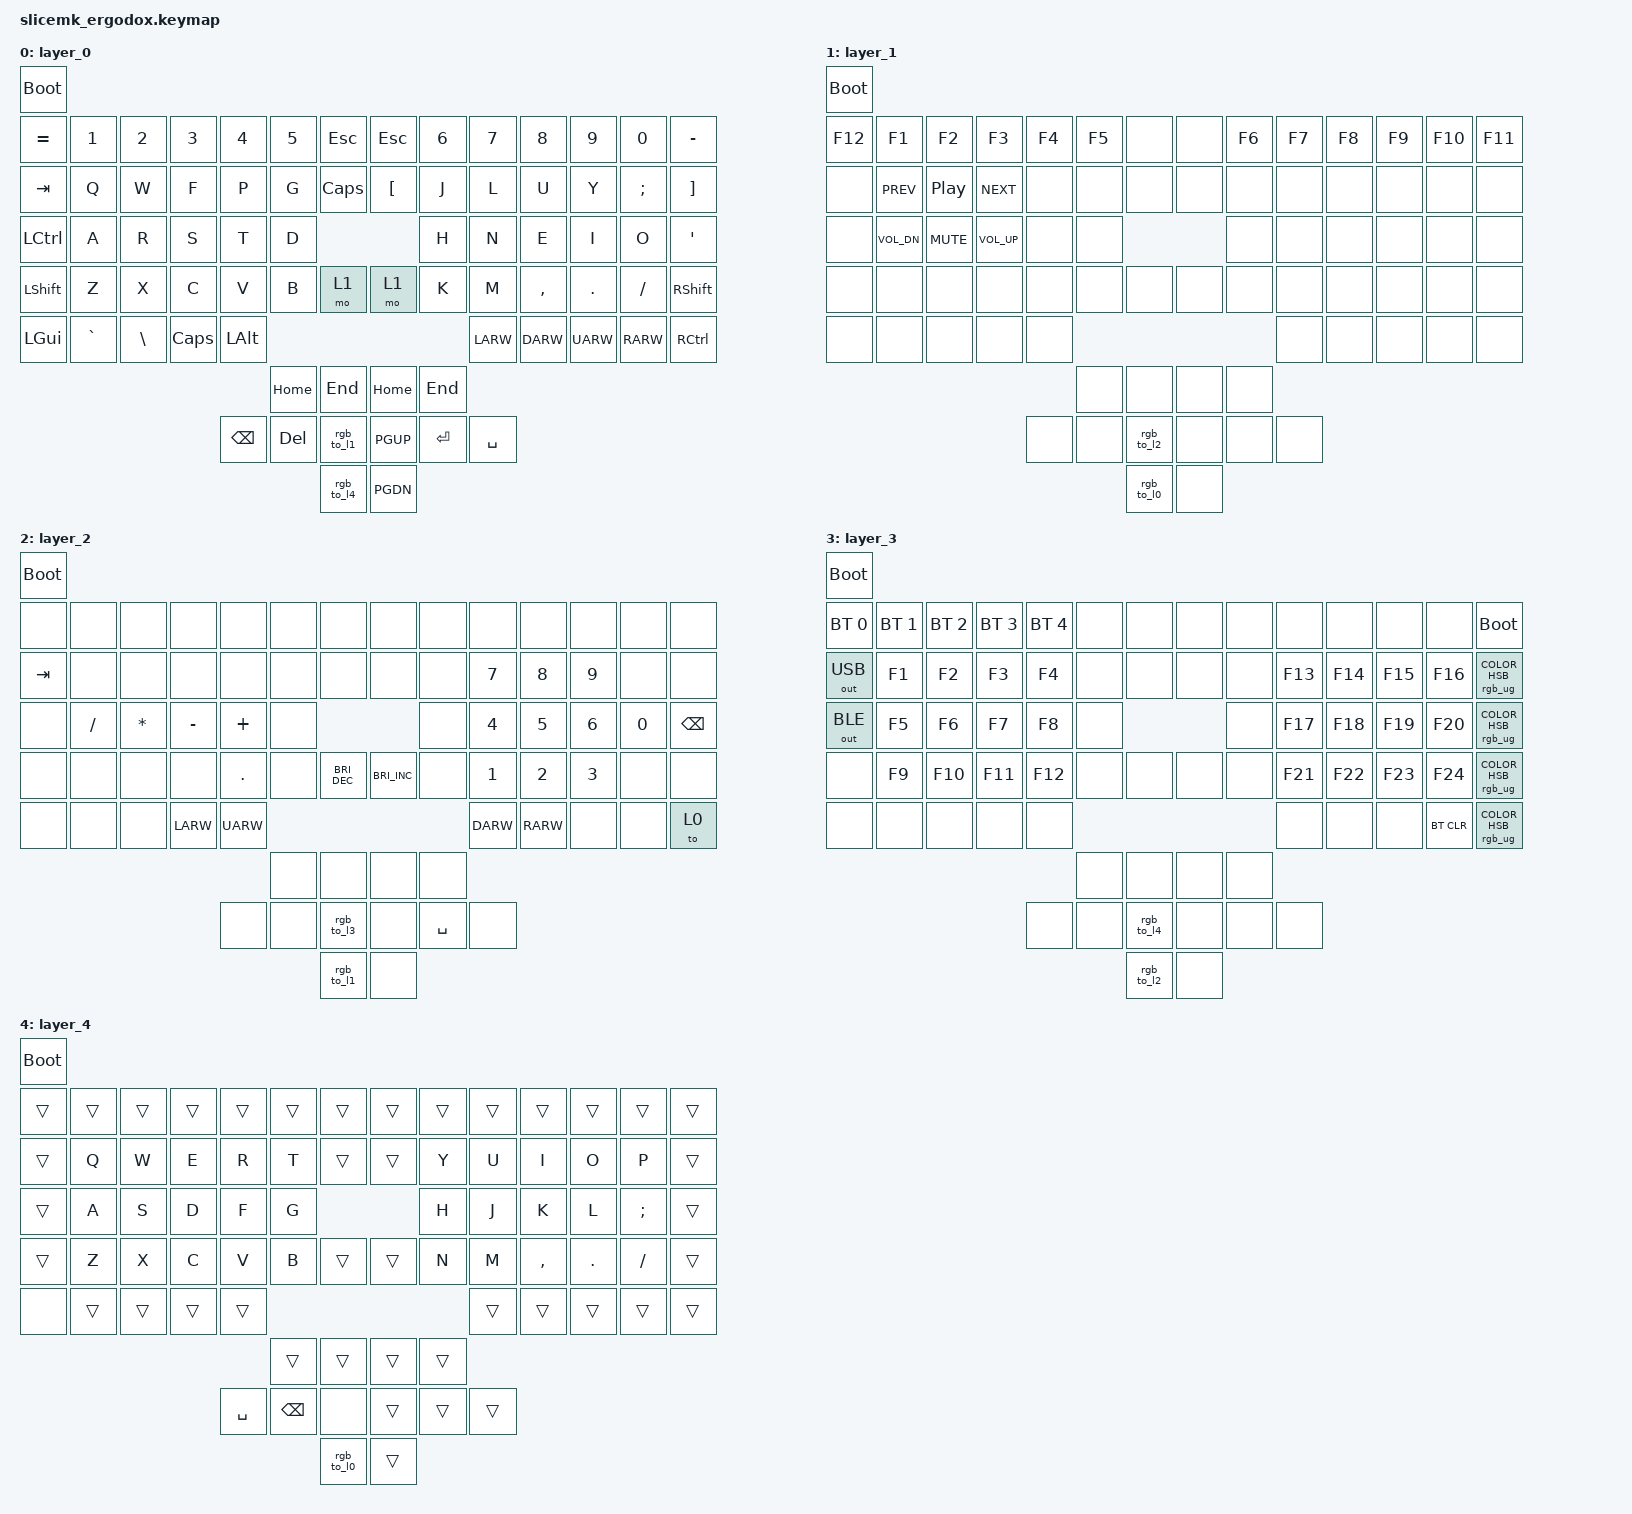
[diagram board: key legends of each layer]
#include <behaviors.dtsi>
#include <dt-bindings/zmk/bt.h>
#include <dt-bindings/zmk/keys.h>
#include <dt-bindings/zmk/outputs.h>
#include <dt-bindings/zmk/rgb.h>

/ {
	ZMK_MACRO(rgb_to_l0, wait-ms = <0>; tap-ms = <0>; bindings = <&macro_tap &rgb_ug RGB_COLOR_HSB(0,0,0)>, <&macro_tap &to 0>;)
	ZMK_MACRO(rgb_to_l1, wait-ms = <0>; tap-ms = <0>; bindings = <&macro_tap &rgb_ug RGB_COLOR_HSB(235,82,30)>, <&macro_tap &to 1>;)
	ZMK_MACRO(rgb_to_l2, wait-ms = <0>; tap-ms = <0>; bindings = <&macro_tap &rgb_ug RGB_COLOR_HSB(273,82,30)>, <&macro_tap &to 2>;)
	ZMK_MACRO(rgb_to_l3, wait-ms = <0>; tap-ms = <0>; bindings = <&macro_tap &rgb_ug RGB_COLOR_HSB(93,82,30)>, <&macro_tap &to 3>;)
	ZMK_MACRO(rgb_to_l4, wait-ms = <0>; tap-ms = <0>; bindings = <&macro_tap &rgb_ug RGB_COLOR_HSB(183,82,30)>, <&macro_tap &to 4>;)

	keymap {
		compatible = "zmk,keymap";
		layer_0 {
			bindings = <
				&bootloader
				&kp EQUAL  &kp NUMBER_1 &kp NUMBER_2 &kp NUMBER_3 &kp NUMBER_4 &kp NUMBER_5 &kp ESC  		&kp ESC  &kp NUMBER_6 &kp NUMBER_7 &kp NUMBER_8 &kp NUMBER_9 &kp NUMBER_0 &kp MINUS
				&kp TAB    &kp Q        &kp W        &kp F        &kp P        &kp G        &kp CLCK 		&kp LBKT &kp J        &kp L        &kp U        &kp Y        &kp SEMI     &kp RBKT
				&kp LCTRL  &kp A        &kp R        &kp S        &kp T        &kp D                 		         &kp H        &kp N        &kp E        &kp I        &kp O        &kp QUOT
				&kp LSHIFT &kp Z        &kp X        &kp C        &kp V        &kp B        &mo 1    		&mo 1    &kp K        &kp M        &kp CMMA     &kp DOT      &kp FSLH     &kp RSHIFT
				&kp LGUI   &kp GRAVE    &kp BSLH     &kp CAPS     &kp LALT                           		                      &kp LARW     &kp DARW     &kp UARW     &kp RARW     &kp RCTRL
				                                                               &kp HOME     &kp END  		&kp HOME &kp END
				                                                  &kp BSPC     &kp DEL      &rgb_to_l1    	&kp PGUP &kp ENTER    &kp SPACE
				                                                                            &rgb_to_l4    	&kp PGDN
			>;
		};
		layer_1 {
			bindings = <
				&bootloader
				&kp F12 &kp F1       &kp F2     &kp F3       &kp F4 &kp F5 &none 		&none &kp F6 &kp F7 &kp F8 &kp F9 &kp F10 &kp F11
				&none   &kp C_PREV   &kp C_PP   &kp C_NEXT   &none  &none  &none 		&none &none  &none  &none  &none  &none   &none
				&none   &kp C_VOL_DN &kp C_MUTE &kp C_VOL_UP &none  &none        		      &none  &none  &none  &none  &none   &none
				&none   &none        &none      &none        &none  &none  &none 		&none &none  &none  &none  &none  &none   &none
				&none   &none        &none      &none        &none               		             &none  &none  &none  &none   &none
				                                                    &none  &none 		&none &none
				                                             &none  &none  &rgb_to_l2 	&none &none  &none
				                                                           &rgb_to_l0 	&none
			>;
		};
		layer_2 {
			bindings = <
				&bootloader
				&none   &none     &none        &none     &none    &none &none                		&none                &none   &none        &none        &none        &none        &none
				&kp TAB &none     &none        &none     &none    &none &none                		&none                &none   &kp NUMBER_7 &kp NUMBER_8 &kp NUMBER_9 &none        &none
				&none   &kp SLASH &kp ASTERISK &kp MINUS &kp PLUS &none                      		                     &none   &kp NUMBER_4 &kp NUMBER_5 &kp NUMBER_6 &kp NUMBER_0 &kp BKSP
				&none   &none     &none        &none     &kp DOT  &none &kp C_BRIGHTNESS_DEC 		&kp C_BRIGHTNESS_INC &none   &kp NUMBER_1 &kp NUMBER_2 &kp NUMBER_3 &none        &none
				&none   &none     &none        &kp LARW  &kp UARW                            		                             &kp DARW     &kp RARW     &none        &none        &to 0
				                                                  &none &none                		&none                &none
				                                         &none    &none &rgb_to_l3                	&none                &kp SPC &none
				                                                        &rgb_to_l1                	&none
			>;
		};
		layer_3 {
			bindings = <
				&bootloader
				&bt BT_SEL 0 &bt BT_SEL 1 &bt BT_SEL 2 &bt BT_SEL 3 &bt BT_SEL 4 &none &none 		&none &none &none   &none   &none   &none   	&bootloader
				&out OUT_USB &kp F1       &kp F2       &kp F3       &kp F4       &none &none 		&none &none &kp F13 &kp F14 &kp F15 &kp F16 	&rgb_ug RGB_COLOR_HSB(0,100,50)
				&out OUT_BLE &kp F5       &kp F6       &kp F7       &kp F8       &none       		      &none &kp F17 &kp F18 &kp F19 &kp F20 	&rgb_ug RGB_COLOR_HSB(120,100,50)
				&none        &kp F9       &kp F10      &kp F11      &kp F12      &none &none 		&none &none &kp F21 &kp F22 &kp F23 &kp F24 	&rgb_ug RGB_COLOR_HSB(240,100,50)
				&none        &none        &none        &none        &none                    		            &none   &none   &none   &bt BT_CLR &rgb_ug RGB_COLOR_HSB(0,0,0)
				                                                                 &none &none 		&none &none
				                                                    &none        &none &rgb_to_l4 	&none &none &none
				                                                                       &rgb_to_l2 	&none
			>;
		};
		layer_4 {
			bindings = <
				&bootloader
				&trans &trans &trans &trans &trans &trans &trans 		&trans &trans &trans &trans   &trans  &trans   &trans
				&trans &kp Q  &kp W  &kp E  &kp R  &kp T  &trans 		&trans &kp Y  &kp U  &kp I    &kp O   &kp P    &trans
				&trans &kp A  &kp S  &kp D  &kp F  &kp G         		       &kp H  &kp J  &kp K    &kp L   &kp SEMI &trans
				&trans &kp Z  &kp X  &kp C  &kp V  &kp B  &trans 		&trans &kp N  &kp M  &kp CMMA &kp DOT &kp FSLH &trans
				&none &trans &trans &trans &trans               		              &trans &trans   &trans  &trans   &trans
				                                   &trans &trans 		&trans &trans
				                            &kp SPACE &kp BSPC &none  		&trans &trans &trans
				                                          &rgb_to_l0  	&trans
			>;
		};
	};

};
